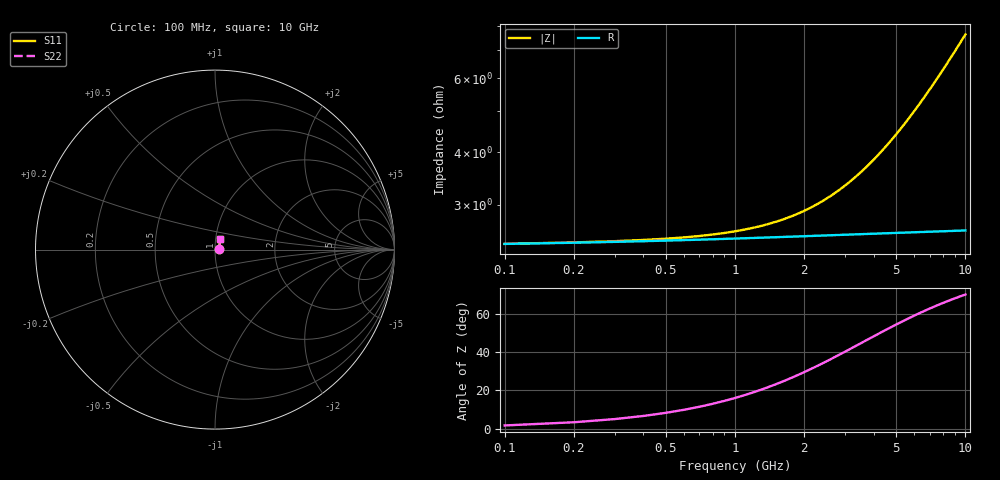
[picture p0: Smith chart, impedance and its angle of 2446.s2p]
# Hz S RI R 50.00
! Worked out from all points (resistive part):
!   100 points, 100 MHz to 10 GHz, reference 50 ohm
!   read as one part in series: R = 2.42 ohm at 100 MHz
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1e8  0.0236 0.000594  0.9764 -0.00077  0.9764 -0.00077  0.0236 0.000594
2e8  0.0238 0.00119  0.9762 -0.00154  0.9762 -0.00154  0.0238 0.00119
7e8  0.0242 0.00416  0.9758 -0.00539  0.9758 -0.00539  0.0242 0.00416
1e9  0.0244 0.00594  0.9756 -0.00769  0.9756 -0.00769  0.0244 0.00594
1.2e9  0.0245 0.00712  0.9755 -0.00923  0.9755 -0.00923  0.0245 0.00712
1.4e9  0.0246 0.00831  0.9754 -0.0108  0.9754 -0.0108  0.0246 0.00831
1.8e9  0.0247 0.0107  0.9753 -0.0138  0.9753 -0.0138  0.0247 0.0107
2.1e9  0.0249 0.0125  0.9751 -0.0161  0.9751 -0.0161  0.0249 0.0125
2.5e9  0.025 0.0148  0.975 -0.0192  0.975 -0.0192  0.025 0.0148
2.9e9  0.0252 0.0172  0.9748 -0.0223  0.9748 -0.0223  0.0252 0.0172
3.4e9  0.0254 0.0201  0.9746 -0.0261  0.9746 -0.0261  0.0254 0.0201
4.5e9  0.026 0.0266  0.974 -0.0345  0.974 -0.0345  0.026 0.0266
5.1e9  0.0263 0.0302  0.9737 -0.0391  0.9737 -0.0391  0.0263 0.0302
5.9e9  0.0268 0.0349  0.9732 -0.0453  0.9732 -0.0453  0.0268 0.0349
6.3e9  0.027 0.0372  0.9729 -0.0483  0.9729 -0.0483  0.027 0.0372
6.7e9  0.0273 0.0396  0.9726 -0.0514  0.9726 -0.0514  0.0273 0.0396
7.1e9  0.0276 0.042  0.9723 -0.0544  0.9723 -0.0544  0.0276 0.042
7.5e9  0.0279 0.0443  0.972 -0.0575  0.972 -0.0575  0.0279 0.0443
7.9e9  0.0282 0.0466  0.9717 -0.0605  0.9717 -0.0605  0.0282 0.0466
8.4e9  0.0286 0.0496  0.9713 -0.0644  0.9713 -0.0644  0.0286 0.0496
9.2e9  0.0293 0.0543  0.9705 -0.0704  0.9705 -0.0704  0.0293 0.0543
1e10  0.0301 0.0589  0.9698 -0.0765  0.9698 -0.0765  0.0301 0.0589
